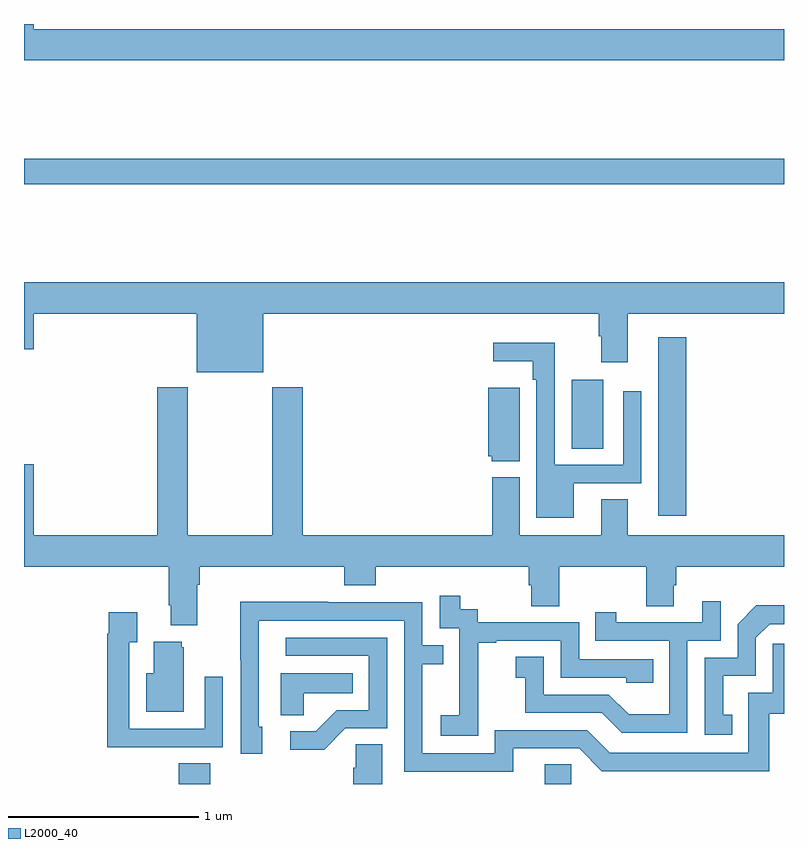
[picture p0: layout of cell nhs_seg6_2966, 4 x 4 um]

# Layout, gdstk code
import gdstk
lib = gdstk.Library(unit=1e-6, precision=1e-09)
def R(c, l, rs):  # rectangles x0, y0, x1, y1
    for r in rs: c.add(gdstk.rectangle(r[:2], r[2:], *l))
def P(c, l, *ps):  # polygons
    for p in ps: c.add(gdstk.Polygon(p, *l))
L2000_40 = (2000, 40)

nhs_seg6_2966 = lib.new_cell('nhs_seg6_2966')
R(nhs_seg6_2966, L2000_40, [(285.815,971.5,285.98,971.609), (287.741,971.5,287.88,971.603), (288.338,972.912,288.485,973.852), (287.882,973.264,288.049,973.627), (285,974.656,289,974.792)])
P(nhs_seg6_2966, L2000_40, [(289,975.472),(285.052,975.472),(285.052,975.5),(285,975.5),(285,975.308),(289,975.308)],
  [(286.258,973.976),(288.026,973.976),(288.026,973.856),(288.038,973.856),(288.038,973.719),(288.178,973.719),(288.178,973.976),(289,973.976),(289,974.14),(285,974.14),(285,973.788),(285.052,973.788),(285.052,973.976),(285.908,973.976),(285.908,973.667),(286.258,973.667)],
  [(287.893,973.083),(288.249,973.083),(288.249,973.567),(288.153,973.567),(288.153,973.179),(287.793,973.179),(287.793,973.822),(287.469,973.822),(287.469,973.724),(287.677,973.724),(287.677,973.628),(287.697,973.628),(287.697,972.902),(287.893,972.902)],
  [(285.913,972.548),(285.926,972.548),(285.926,972.644),(286.685,972.644),(286.685,972.545),(286.85,972.545),(286.85,972.644),(287.657,972.644),(287.657,972.546),(287.669,972.546),(287.669,972.436),(287.817,972.436),(287.817,972.644),(288.274,972.644),(288.274,972.436),(288.421,972.436),(288.421,972.546),(288.434,972.546),(288.434,972.644),(289,972.644),(289,972.808),(288.178,972.808),(288.178,972.998),(288.038,972.998),(288.038,972.808),(287.608,972.808),(287.608,973.114),(287.465,973.114),(287.465,972.808),(286.466,972.808),(286.466,973.588),(286.306,973.588),(286.306,972.808),(285.861,972.808),(285.861,973.588),(285.701,973.588),(285.701,972.808),(285.052,972.808),(285.052,973.183),(285,973.183),(285,972.644),(285.761,972.644),(285.761,972.442),(285.773,972.442),(285.773,972.335),(285.913,972.335)],
  [(287.608,973.585),(287.444,973.585),(287.444,973.224),(287.463,973.224),(287.463,973.199),(287.608,973.199)],
  [(287.391,971.959),(287.39,971.959),(287.39,972.243),(287.485,972.243),(287.485,972.255),(287.826,972.255),(287.826,972.06),(288.171,972.06),(288.171,972.033),(288.311,972.033),(288.311,972.156),(287.922,972.156),(287.922,972.351),(287.388,972.351),(287.388,972.42),(287.296,972.42),(287.296,972.49),(287.187,972.49),(287.187,972.321),(287.292,972.321),(287.292,972.092),(287.291,972.092),(287.291,971.863),(287.193,971.863),(287.193,971.753),(287.391,971.753)],
  [(288.492,972.255),(288.666,972.255),(288.666,972.463),(288.569,972.463),(288.569,972.351),(288.118,972.351),(288.118,972.403),(288.007,972.403),(288.007,972.255),(288.396,972.255),(288.396,971.866),(288.182,971.866),(288.078,971.97),(287.736,971.97),(287.736,972.169),(287.589,972.169),(287.589,972.059),(287.638,972.059),(287.638,971.874),(288.041,971.874),(288.146,971.769),(288.492,971.769)],
  [(287.575,971.688),(287.922,971.688),(288.042,971.568),(288.922,971.568),(288.922,971.871),(289,971.871),(289,972.238),(288.942,972.238),(288.942,971.979),(288.813,971.979),(288.813,971.664),(288.084,971.664),(287.964,971.784),(287.478,971.784),(287.478,971.661),(287.097,971.661),(287.097,972.13),(287.207,972.13),(287.207,972.231),(287.097,972.231),(287.097,972.456),(286.601,972.456),(286.601,972.458),(286.138,972.458),(286.138,972.151),(286.14,972.151),(286.14,971.658),(286.255,971.658),(286.255,971.802),(286.236,971.802),(286.236,972.36),(287.001,972.36),(287.001,971.565),(287.575,971.565)],
  [(288.728,971.865),(288.679,971.865),(288.679,972.069),(288.852,972.069),(288.852,972.27),(288.924,972.342),(289,972.342),(289,972.44),(288.854,972.44),(288.756,972.342),(288.756,972.165),(288.582,972.165),(288.582,971.76),(288.728,971.76)],
  [(285.731,971.694),(286.047,971.694),(286.047,972.064),(285.951,972.064),(285.951,971.79),(285.555,971.79),(285.555,972.247),(285.595,972.247),(285.595,972.403),(285.447,972.403),(285.447,972.29),(285.439,972.29),(285.439,971.693),(285.731,971.693)],
  [(286.692,971.793),(286.911,971.793),(286.911,972.27),(286.377,972.27),(286.377,972.174),(286.815,972.174),(286.815,971.889),(286.646,971.889),(286.535,971.778),(286.401,971.778),(286.401,971.681),(286.579,971.681)],
  [(285.841,972.219),(285.83,972.219),(285.83,972.25),(285.683,972.25),(285.683,972.082),(285.644,972.082),(285.644,971.879),(285.841,971.879)],
  [(286.473,971.978),(286.73,971.978),(286.73,972.082),(286.352,972.082),(286.352,971.863),(286.473,971.863)],
  [(286.885,971.708),(286.746,971.708),(286.746,971.585),(286.733,971.585),(286.733,971.5),(286.885,971.5)])

lib.write_gds('nhs_seg6_2966.gds')
